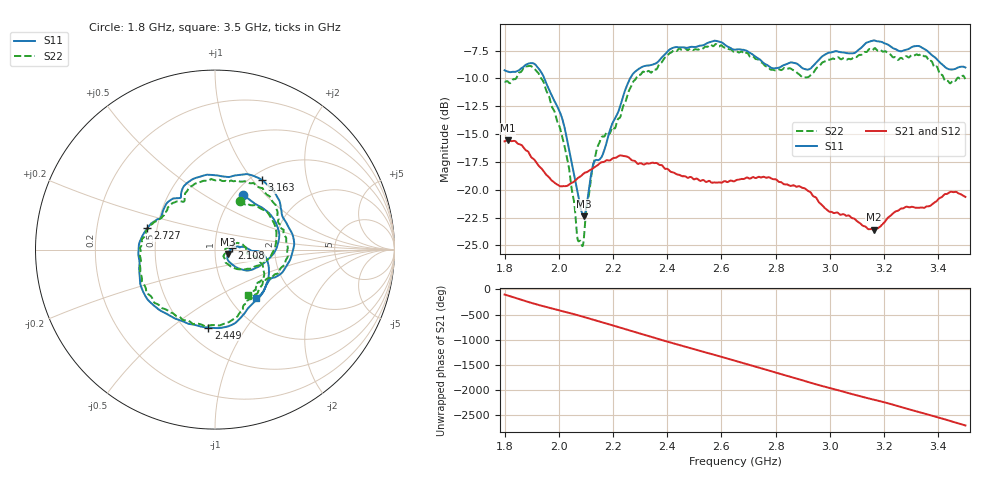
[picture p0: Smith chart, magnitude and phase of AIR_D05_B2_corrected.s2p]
! Created with skrf 1.9.0 (http://scikit-rf.org).
# Hz S RI R 50.0
!freq ReS11 ImS11 ReS21 ImS21 ReS12 ImS12 ReS22 ImS22
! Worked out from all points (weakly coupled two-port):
!   1601 points, 1.8 GHz to 3.5 GHz, reference 50 ohm
!   highest |S21| = -15.57 dB at 1.812 GHz (marker M1); lowest = -23.6 dB at 3.162 GHz (marker M2)
!   lowest |S11| = -22.4 dB at 2.092 GHz (marker M3), VSWR 1.16, Z = 57.7 - j2.77 ohm
!   |S11| at or under -10 dB: 1.947 GHz to 2.263 GHz (316.1 MHz wide, 15 % of centre)
!   |S22| runs from -25.1 to -6.9 dB; largest |S21 - S12| = 0.0033
!   S11 on the Smith chart (normalised r, x): 1.8 GHz: 1.10, +0.76; 2.108 GHz: 1.21, +0.02; 2.449 GHz: 0.64, -0.69; 2.727 GHz: 0.44, +0.12; 3.163 GHz: 1.12, +1.12; 3.5 GHz: 1.31, -0.81
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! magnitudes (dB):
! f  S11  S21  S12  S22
! 1.8 GHz  -9.3  -15.6  -15.6  -10.3
! 1.812 GHz  -9.4  -15.6  -15.6  -10.3
! 1.89 GHz  -8.6  -16.7  -16.8  -8.9
! 1.941 GHz  -9.7  -18.2  -18.2  -10.2
! 2.016 GHz  -13.9  -19.7  -19.7  -15.5
! 2.07 GHz  -20.3  -19.0  -19.0  -24.5
! 2.084 GHz  -21.9  -18.7  -18.7  -24.9
! 2.092 GHz  -22.4  -18.5  -18.6  -24.4
! 2.108 GHz  -20.5  -18.3  -18.4  -20.8
! 2.127 GHz  -17.7  -18.1  -18.1  -17.7
! 2.148 GHz  -17.3  -17.7  -17.7  -15.9
! 2.21 GHz  -13.5  -17.1  -17.1  -14.3
! 2.263 GHz  -10.0  -17.2  -17.2  -10.9
! 2.367 GHz  -8.5  -17.7  -17.7  -8.9
! 2.449 GHz  -7.2  -18.7  -18.7  -7.4
! 2.65 GHz  -7.4  -19.2  -19.2  -7.6
! 2.727 GHz  -8.1  -18.9  -19.0  -8.3
! 2.934 GHz  -9.0  -20.4  -20.4  -9.6
! 3.162 GHz  -6.6  -23.6  -23.6  -7.3
! 3.163 GHz  -6.6  -23.6  -23.6  -7.3
! 3.217 GHz  -7.0  -22.4  -22.4  -7.8
! 3.5 GHz  -9.0  -20.6  -20.6  -10.0
